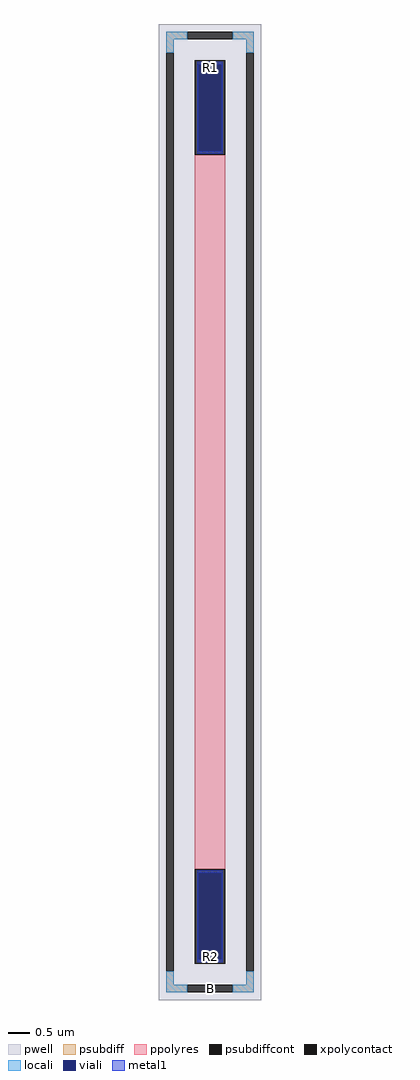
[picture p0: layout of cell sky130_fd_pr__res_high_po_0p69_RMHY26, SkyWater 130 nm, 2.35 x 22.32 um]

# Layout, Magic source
magic
tech sky130A
magscale 1 2
<< pwell >>
rect -235 -2232 235 2232
<< psubdiff >>
rect -199 2162 -103 2196
rect 103 2162 199 2196
rect -199 2100 -165 2162
rect 165 2100 199 2162
rect -199 -2162 -165 -2100
rect 165 -2162 199 -2100
rect -199 -2196 -103 -2162
rect 103 -2196 199 -2162
<< psubdiffcont >>
rect -103 2162 103 2196
rect -199 -2100 -165 2100
rect 165 -2100 199 2100
rect -103 -2196 103 -2162
<< xpolycontact >>
rect -69 1634 69 2066
rect -69 -2066 69 -1634
<< ppolyres >>
rect -69 -1634 69 1634
<< locali >>
rect -199 2162 -103 2196
rect 103 2162 199 2196
rect -199 2100 -165 2162
rect 165 2100 199 2162
rect -199 -2162 -165 -2100
rect 165 -2162 199 -2100
rect -199 -2196 -103 -2162
rect 103 -2196 199 -2162
<< viali >>
rect -53 1651 53 2048
rect -53 -2048 53 -1651
<< metal1 >>
rect -59 2048 59 2060
rect -59 1651 -53 2048
rect 53 1651 59 2048
rect -59 1639 59 1651
rect -59 -1651 59 -1639
rect -59 -2048 -53 -1651
rect 53 -2048 59 -1651
rect -59 -2060 59 -2048
<< labels >>
rlabel psubdiffcont 0 -2179 0 -2179 0 B
port 1 nsew
rlabel xpolycontact 0 2031 0 2031 0 R1
port 2 nsew
rlabel xpolycontact 0 -2031 0 -2031 0 R2
port 3 nsew
<< properties >>
string FIXED_BBOX -182 -2179 182 2179
string gencell sky130_fd_pr__res_high_po_0p69
string library sky130
string parameters w 0.690 l 16.5 m 1 nx 1 wmin 0.690 lmin 0.50 class resistor rho 319.8 val 8.212k dummy 0 dw 0.0 term 194.82 sterm 0.0 caplen 0 guard 1 glc 1 grc 1 gtc 1 gbc 1 compatible {sky130_fd_pr__res_high_po_0p35  sky130_fd_pr__res_high_po_0p69 sky130_fd_pr__res_high_po_1p41  sky130_fd_pr__res_high_po_2p85 sky130_fd_pr__res_high_po_5p73} snake 0 full_metal 1 wmax 0.690 n_guard 0 hv_guard 0 vias 1 viagb 0 viagt 0 viagl 0 viagr 0 doports 1
<< end >>
